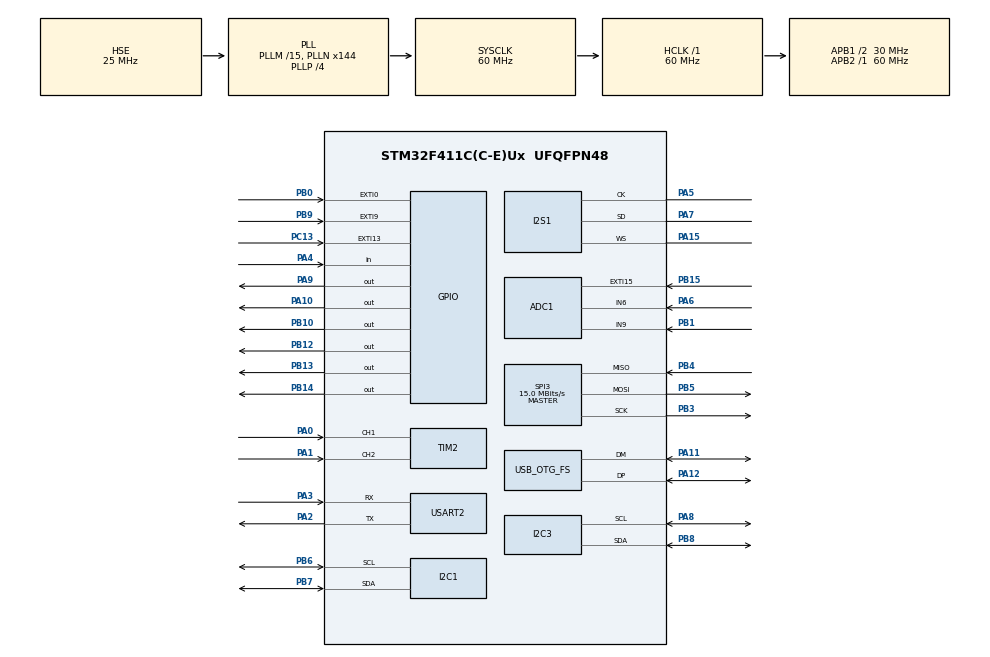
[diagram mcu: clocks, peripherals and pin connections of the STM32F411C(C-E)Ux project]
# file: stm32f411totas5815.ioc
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ADC1.Channel-5\#ChannelRegularConversion=ADC_CHANNEL_9
ADC1.NbrOfConversionFlag=1
ADC1.Rank-5\#ChannelRegularConversion=1
ADC1.SamplingTime-5\#ChannelRegularConversion=ADC_SAMPLETIME_3CYCLES
ADC1.master=1
I2S1.AudioFreq=I2S_AUDIOFREQ_48K
I2S1.ErrorAudioFreq=-0.35 %
I2S1.FullDuplexMode=I2S_FULLDUPLEXMODE_DISABLE
I2S1.Instance=SPI$Index
I2S1.RealAudioFreq=47.831 KHz
I2S1.VirtualMode=I2S_MODE_MASTER
Mcu.Family=STM32F4
Mcu.Name=STM32F411C(C-E)Ux
Mcu.Package=UFQFPN48
NVIC.OTG_FS_IRQn=true\:0\:0\:false\:false\:true\:true\:true\:true
NVIC.PriorityGroup=NVIC_PRIORITYGROUP_4
PA0-WKUP.Signal=S_TIM2_CH1_ETR
PA1.Signal=S_TIM2_CH2
PA10.Signal=GPIO_Output
PA11.Mode=Device_Only
PA11.Signal=USB_OTG_FS_DM
PA12.Mode=Device_Only
PA12.Signal=USB_OTG_FS_DP
PA13.Mode=Serial_Wire
PA13.Signal=SYS_JTMS-SWDIO
PA14.Mode=Serial_Wire
PA14.Signal=SYS_JTCK-SWCLK
PA15.Mode=Half_Duplex_Master
PA15.Signal=I2S1_WS
PA2.Mode=Asynchronous
PA2.Signal=USART2_TX
PA3.Mode=Asynchronous
PA3.Signal=USART2_RX
PA4.Signal=GPIO_Input
PA5.Mode=Half_Duplex_Master
PA5.Signal=I2S1_CK
PA6.Signal=ADCx_IN6
PA7.Mode=Half_Duplex_Master
PA7.Signal=I2S1_SD
PA8.Mode=I2C
PA8.Signal=I2C3_SCL
PA9.Signal=GPIO_Output
PB0.Signal=GPXTI0
PB1.Signal=ADCx_IN9
PB10.Signal=GPIO_Output
PB12.Signal=GPIO_Output
PB13.Signal=GPIO_Output
PB14.Signal=GPIO_Output
PB15.Signal=GPXTI15
PB3.Mode=Full_Duplex_Master
PB3.Signal=SPI3_SCK
PB4.Mode=Full_Duplex_Master
PB4.Signal=SPI3_MISO
PB5.Mode=Full_Duplex_Master
PB5.Signal=SPI3_MOSI
PB6.Mode=I2C
PB6.Signal=I2C1_SCL
PB7.Mode=I2C
PB7.Signal=I2C1_SDA
PB8.Mode=I2C
PB8.Signal=I2C3_SDA
PB9.Signal=GPXTI9
PC13-ANTI_TAMP.Signal=GPXTI13
PC14-OSC32_IN.Mode=LSE-External-Oscillator
PC14-OSC32_IN.Signal=RCC_OSC32_IN
PC15-OSC32_OUT.Mode=LSE-External-Oscillator
PC15-OSC32_OUT.Signal=RCC_OSC32_OUT
PH0\ -\ OSC_IN.Mode=HSE-External-Oscillator
PH0\ -\ OSC_IN.Signal=RCC_OSC_IN
PH1\ -\ OSC_OUT.Mode=HSE-External-Oscillator
PH1\ -\ OSC_OUT.Signal=RCC_OSC_OUT
ProjectManager.HeapSize=0x200
ProjectManager.StackSize=0x400
ProjectManager.TargetToolchain=MDK-ARM V5.32
RCC.48MHZClocksFreq_Value=48000000
RCC.AHBFreq_Value=60000000
RCC.APB1CLKDivider=RCC_HCLK_DIV2
RCC.APB1Freq_Value=30000000
RCC.APB1TimFreq_Value=60000000
RCC.APB2Freq_Value=60000000
RCC.APB2TimFreq_Value=60000000
RCC.CortexFreq_Value=60000000
RCC.HCLKFreq_Value=60000000
RCC.HSE_VALUE=25000000
RCC.HSI_VALUE=16000000
RCC.PLLM=15
RCC.PLLN=144
RCC.PLLP=RCC_PLLP_DIV4
RCC.PLLQ=5
RCC.SYSCLKFreq_VALUE=60000000
RCC.SYSCLKSource=RCC_SYSCLKSOURCE_PLLCLK
RCC.VCOOutputFreq_Value=240000000
SH.ADCx_IN6.0=ADC1_IN6,IN6
SH.ADCx_IN9.0=ADC1_IN9,IN9
SH.S_TIM2_CH1_ETR.0=TIM2_CH1,Encoder_Interface
SH.S_TIM2_CH2.0=TIM2_CH2,Encoder_Interface
SPI3.CalculateBaudRate=15.0 MBits/s
SPI3.Direction=SPI_DIRECTION_2LINES
SPI3.Mode=SPI_MODE_MASTER
SPI3.VirtualType=VM_MASTER
USART2.VirtualMode=VM_ASYNC
USB_OTG_FS.VirtualMode=Device_Only
board=custom

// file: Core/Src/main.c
/* USER CODE BEGIN Header */
/**
  ******************************************************************************
  * @file           : main.c
  * @brief          : Main program body
  ******************************************************************************
  * @attention
  *
  * Copyright (c) 2026 STMicroelectronics.
  * All rights reserved.
  *
  * This software is licensed under terms that can be found in the LICENSE file
  * in the root directory of this software component.
  * If no LICENSE file comes with this software, it is provided AS-IS.
  *
  ******************************************************************************
  */
/* USER CODE END Header */
#include "main.h"
#include "adc.h"
#include "i2c.h"
#include "i2s.h"
#include "spi.h"
#include "tim.h"
#include "usart.h"
#include "usb_otg.h"
#include "gpio.h"

/* USER CODE BEGIN Includes */
#include "string.h"
#include "oled.h"
#include "stdio.h"
#include "tas5815.h"
#include "menu.h"
#include "at24c02.h"
#include "adc.h"
/* USER CODE END Includes */

/* USER CODE BEGIN PV */
/* 音量保存相关参数 */
#define VOLUME_SAVE_DELAY  2000  /* 音量稳定2秒后保存 (ms) */

static uint32_t g_volumeChangeTime = 0;  /* 音量变化时间戳 */
static uint8_t  g_volumeNeedSave = 0;    /* 音量需要保存标志 */
static int32_t  g_volumeToSave = 0;      /* 待保存的音量值 */

/* 音量变量（供菜单系统同步硬件计数器使用） */
static int32_t g_volume = 30; /* 默认音量30 */

/* 音量显示消息缓冲 */
char volStr[4] = "99";

/* 音量最大值 */
#define VOLUME_MAX  99

/* 播放状态检测阈值：ADC值 > 1240 (约1V) 认为正在播放 */
#define PLAY_THRESHOLD_ADC  1240
#define PLAY_SAMPLE_COUNT   5

/* 关机模式定义 */
#define POWEROFF_MODE_10MIN      0  /* 无播放10分钟关机 */
#define POWEROFF_MODE_30MIN     1  /* 无播放30分钟关机 */
#define POWEROFF_MODE_FOLLOW    2  /* 随主机关机 */
#define POWEROFF_MODE_DISABLED  3  /* 不自动关机 */

/* 自动关机时间：默认30分钟 */
#define AUTO_POWER_OFF_MS_DEFAULT   (30 * 60 * 1000)
#define AUTO_POWER_OFF_MS_10MIN      (10 * 60 * 1000)

static uint8_t g_lastPlayState = 0;
static uint8_t g_currentModulation = 0;
static uint8_t g_currentFSW = 0;
static uint8_t g_currentVoltage = 1;
static uint32_t g_lastPlayTime = 0;

/* 关机设置：0=10分钟, 1=30分钟, 2=随主机, 3=不自动关机 */
uint8_t g_powerOffMode = POWEROFF_MODE_30MIN;
static uint8_t g_pb0LastState = 0;

void SetPowerOffMode(uint8_t mode)
{
    g_powerOffMode = mode;
}
/* USER CODE END PV */

void SystemClock_Config(void);

/* USER CODE BEGIN 0 */
/* 引用I2C句柄 */
extern I2C_HandleTypeDef hi2c1;
extern I2C_HandleTypeDef hi2c3; /* OLED和AT24C02使用I2C3 */

/* 获取当前音量 */
int32_t GetVolume(void)
{
    return g_volume;
}

/* 设置音量（同时更新硬件计数器） */
void SetVolume(int32_t vol)
{
    if (vol < 0) vol = 0;
    if (vol > VOLUME_MAX) vol = VOLUME_MAX;
    g_volume = vol;
    __HAL_TIM_SET_COUNTER(&htim2, (uint32_t)(vol << 1));
}

void SetModulation(uint8_t modulation)
{
    g_currentModulation = modulation;
    tas5815_set_modulation(modulation);
}

void SetFSW(uint8_t fsw)
{
    g_currentFSW = fsw;
    tas5815_set_fsw(fsw);
}

void SetVoltage(uint8_t voltage)
{
    g_currentVoltage = voltage;
    switch(voltage) {
        case 0:
            HAL_GPIO_WritePin(PD_5V_GPIO_Port, PD_5V_Pin, GPIO_PIN_SET);
            HAL_GPIO_WritePin(PD_20V_GPIO_Port, PD_20V_Pin, GPIO_PIN_RESET);
            break;
        case 1:
            HAL_GPIO_WritePin(PD_5V_GPIO_Port, PD_5V_Pin, GPIO_PIN_RESET);
            HAL_GPIO_WritePin(PD_20V_GPIO_Port, PD_20V_Pin, GPIO_PIN_RESET);
            break;
        case 2:
            HAL_GPIO_WritePin(PD_5V_GPIO_Port, PD_5V_Pin, GPIO_PIN_RESET);
            HAL_GPIO_WritePin(PD_20V_GPIO_Port, PD_20V_Pin, GPIO_PIN_SET);
            break;
    }
}

void RestoreVoltage(void)
{
    SetVoltage(g_currentVoltage);
}

static uint32_t Read_ADC_Channel(uint32_t channel)
{
    ADC_ChannelConfTypeDef sConfig = {0};
    sConfig.Channel = channel;
    sConfig.Rank = 1;
    sConfig.SamplingTime = ADC_SAMPLETIME_15CYCLES;
    HAL_ADC_ConfigChannel(&hadc1, &sConfig);

    HAL_ADC_Start(&hadc1);
    HAL_ADC_PollForConversion(&hadc1, 10);
    uint32_t value = HAL_ADC_GetValue(&hadc1);
    HAL_ADC_Stop(&hadc1);
    return value;
}

void System_PowerOff(void)
{
    if (g_volumeNeedSave) {
        AT24C02_SaveVolume((uint8_t)g_volumeToSave);
        g_volumeNeedSave = 0;
    }

    HAL_GPIO_WritePin(PD_5V_GPIO_Port, PD_5V_Pin, GPIO_PIN_SET);
    HAL_GPIO_WritePin(PD_20V_GPIO_Port, PD_20V_Pin, GPIO_PIN_RESET);

    HAL_GPIO_WritePin(BT_EN_GPIO_Port, BT_EN_Pin, GPIO_PIN_RESET);
    tas5815_sleep();
    HAL_Delay(50);
    OLED_DisPlay_Off();

    HAL_SuspendTick();

    __HAL_RCC_GPIOB_CLK_ENABLE();
    GPIO_InitTypeDef GPIO_InitStruct = {0};
    GPIO_InitStruct.Pin = GPIO_PIN_9;
    GPIO_InitStruct.Mode = GPIO_MODE_IT_FALLING;
    GPIO_InitStruct.Pull = GPIO_PULLUP;
    HAL_GPIO_Init(GPIOB, &GPIO_InitStruct);

    GPIO_InitStruct.Pin = GPIO_PIN_0;
    GPIO_InitStruct.Mode = GPIO_MODE_IT_RISING;
    GPIO_InitStruct.Pull = GPIO_PULLDOWN;
    HAL_GPIO_Init(GPIOB, &GPIO_InitStruct);

    __HAL_PWR_CLEAR_FLAG(PWR_FLAG_WU);
    HAL_NVIC_SetPriority(EXTI9_5_IRQn, 0, 0);
    HAL_NVIC_EnableIRQ(EXTI9_5_IRQn);
    HAL_NVIC_SetPriority(EXTI0_IRQn, 0, 0);
    HAL_NVIC_EnableIRQ(EXTI0_IRQn);

    HAL_PWR_EnterSTOPMode(PWR_LOWPOWERREGULATOR_ON, PWR_STOPENTRY_WFI);

    HAL_NVIC_DisableIRQ(EXTI9_5_IRQn);
    HAL_NVIC_DisableIRQ(EXTI0_IRQn);
    __HAL_GPIO_EXTI_CLEAR_IT(GPIO_PIN_9);
    __HAL_GPIO_EXTI_CLEAR_IT(GPIO_PIN_0);

    SystemClock_Config();
    HAL_ResumeTick();

    GPIO_InitStruct.Pin = GPIO_PIN_9;
    GPIO_InitStruct.Mode = GPIO_MODE_IT_RISING;
    GPIO_InitStruct.Pull = GPIO_NOPULL;
    HAL_GPIO_Init(GPIOB, &GPIO_InitStruct);

    GPIO_InitStruct.Pin = GPIO_PIN_0;
    GPIO_InitStruct.Mode = GPIO_MODE_IT_RISING;
    GPIO_InitStruct.Pull = GPIO_NOPULL;
    HAL_GPIO_Init(GPIOB, &GPIO_InitStruct);

    HAL_Delay(100);

    RestoreVoltage();
    OLED_NewFrame();
    OLED_ShowFrame();
    OLED_DisPlay_On();
    HAL_Delay(500);
    HAL_GPIO_WritePin(BT_EN_GPIO_Port, BT_EN_Pin, GPIO_PIN_SET);
    HAL_Delay(200);
    tas5815_wakeup();
    set_tas5815_volume((uint32_t)g_volume);
    g_lastPlayTime = HAL_GetTick();
}
/* USER CODE END 0 */

int main(void)
{

  /* MCU Configuration--------------------------------------------------------*/

  /* Reset of all peripherals, Initializes the Flash interface and the Systick. */
  HAL_Init();

  /* Configure the system clock */
  SystemClock_Config();

  /* Initialize all configured peripherals */
  MX_GPIO_Init();
  MX_ADC1_Init();
  MX_I2C1_Init();
  MX_I2C3_Init();
  MX_I2S1_Init();
  MX_SPI3_Init();
  MX_TIM2_Init();
  MX_USART2_UART_Init();
  MX_USB_OTG_FS_PCD_Init();
  /* USER CODE BEGIN 2 */

  HAL_Delay(500);
  /* 默认开启蓝牙模块 (PA10 高电平) */
  HAL_GPIO_WritePin(BT_EN_GPIO_Port, BT_EN_Pin, GPIO_PIN_SET);

  /* 使能PWR时钟并解锁备份域访问（LSE配置需要） */
  __HAL_RCC_PWR_CLK_ENABLE();
  HAL_PWR_EnableBkUpAccess();

  /* 开启外部低速晶振 LSE (32.768kHz)，带超时保护 */
  __HAL_RCC_LSE_CONFIG(RCC_LSE_ON);
  uint32_t lseTimeout = 0;
  while(__HAL_RCC_GET_FLAG(RCC_FLAG_LSERDY) == RESET) {
      if (++lseTimeout > 50000) break;  /* 约500ms超时 */
  }

  HAL_Delay(200);
  OLED_Init();
  OLED_NewFrame();
  OLED_PrintString(4, 2, "星火计划", &font30x30, OLED_COLOR_NORMAL);
  OLED_PrintString(4, 34, "鸢枭出品", &font30x30, OLED_COLOR_NORMAL);
  OLED_ShowFrame();
  MX_I2S1_Init();
  MX_SPI3_Init();
  MX_TIM2_Init();
  MX_USART2_UART_Init();
  MX_USB_OTG_FS_PCD_Init();
/* 启动编码器 */
  HAL_TIM_Encoder_Start(&htim2, TIM_CHANNEL_ALL);

  /* EEPROM 初始化 */
  if (AT24C02_Init() == 0) {
      /* 尝试从 EEPROM 读取记忆音量 */
      uint8_t savedVolume = 30;  /* 默认音量 30 */
      if (AT24C02_LoadVolume(&savedVolume) == 0) {
          g_volume = savedVolume;
      }

      /* 尝试加载记忆的电压设置并立即应用 */
      uint8_t savedVoltage = 1;  /* 默认 12V */
      if (AT24C02_LoadVoltage(&savedVoltage) == 0) {
          SetVoltage(savedVoltage);
      }
  }

  HAL_Delay(500);  /* 显示启动信息 500ms */

  /* 设置编码器初始值（音量左移 1 位） */
  __HAL_TIM_SET_COUNTER(&htim2, (uint32_t)(g_volume << 1));
  HAL_Delay(2);

   /* 初始化 TAS5815 音频放大器 */
   tas5815_Initialize();

   /* 加载记忆的调制模式并配置 */
uint8_t savedModulation = 0;
   if (AT24C02_LoadModulation(&savedModulation) == 0) {
       g_currentModulation = savedModulation;
       tas5815_set_modulation(savedModulation);
   }

    uint8_t savedFSW = 0;
   if (AT24C02_LoadFSW(&savedFSW) == 0) {
       g_currentFSW = savedFSW;
       tas5815_set_fsw(savedFSW);
   }

   uint8_t savedPowerOff = POWEROFF_MODE_30MIN;
   if (AT24C02_LoadPowerOff(&savedPowerOff) == 0) {
       g_powerOffMode = savedPowerOff;
   }

   uint8_t savedAMP = 5;
   if (AT24C02_LoadAMP(&savedAMP) == 0) {
       tas5815_set_analog_gain(savedAMP);
   }

   g_pb0LastState = HAL_GPIO_ReadPin(BT_USB_DET_GPIO_Port, BT_USB_DET_Pin);

     /* 初始化菜单系统（不再设置默认电压） */
     Menu_Init();

    g_lastPlayTime = HAL_GetTick();
   /* USER CODE END 2 */

  /* Infinite loop */
  /* USER CODE BEGIN WHILE */

  int32_t last_count = -1; /* 检测音量变化 */
  while (1)
  {
      /* 处理菜单系统（包含编码器和按键处理） */
      Menu_Process();

      /* 检查是否需要关机 */
      if (Menu_IsPowerOffPending()) {
          Menu_ClearPowerOffPending();
          System_PowerOff();
      }

      /* 仅在音量界面时执行音量调节逻辑 */
      if (Menu_GetState() == MENU_STATE_VOLUME && !Menu_IsInPowerOffMode()) {
          /* 清空OLED显示缓冲 */
          OLED_NewFrame();

          /* 1. 获取硬件计数器的当前值 */
          uint32_t raw_count = __HAL_TIM_GET_COUNTER(&htim2);

          /* 2. 计算音量值（右移1位，每2个编码器脉冲变化1个音量单位） */
          /* 顺时针旋转增加音量 */
          int32_t current_count = ((int32_t)raw_count) >> 1;

          /* 3. 边界检查与硬件同步 (解决"死区"问题的关键) */
          if (current_count < 0) {
              g_volume = 0;
              __HAL_TIM_SET_COUNTER(&htim2, 0);
          }
          else if (current_count > VOLUME_MAX) {
              g_volume = VOLUME_MAX;
              __HAL_TIM_SET_COUNTER(&htim2, VOLUME_MAX << 1);
          }
          else {
              g_volume = current_count;
          }

          /* 检测音量变化并更新硬件 */
          if (g_volume != last_count) {

              /* 设置TAS5815音量 */
              set_tas5815_volume((uint32_t)g_volume);

              /* 标记需要保存，记录时间和待保存值 */
              g_volumeChangeTime = HAL_GetTick();
              g_volumeToSave = g_volume;
              g_volumeNeedSave = 1;

              last_count = g_volume;
          }

          /* 检查是否需要保存音量到EEPROM（音量稳定2秒后保存） */
           if (g_volumeNeedSave && (HAL_GetTick() - g_volumeChangeTime >= VOLUME_SAVE_DELAY)) {
               AT24C02_SaveVolume((uint8_t)g_volumeToSave);
               g_volumeNeedSave = 0;
           }

/* VOLUME标题 + 音量数字 + 进度条 (右侧对齐) */
           sprintf(volStr, "%02ld", (long)g_volume);
           uint8_t volX = 128 - 2 * 30;
           OLED_PrintASCIIString(volX, 5, "VOLUME", &afont16x8, OLED_COLOR_NORMAL);
            OLED_PrintString(volX - 8, 20, volStr, &fontNum30x30, OLED_COLOR_NORMAL);

           /* 音量进度条 */
           uint8_t barY = 55;
           uint8_t barH = 10;
           uint8_t barW = 128;
           uint32_t drawWidth = (uint32_t)g_volume * barW / VOLUME_MAX;
           OLED_DrawRectangle(0, barY, barW, barH, OLED_COLOR_NORMAL);
           if (drawWidth > 0) {
               OLED_DrawFilledRectangle(1, barY + 1, (uint8_t)drawWidth, barH - 2, OLED_COLOR_NORMAL);
           }

           /* 左侧状态显示 (x=4, font10x10高度10像素, 间隔2像素) */
           uint8_t leftX = 4;
           uint8_t leftY = 4;
           char statusBuf[16];

              /* 第1行: 播放状态 */
              static uint32_t lastStartTime = 0;
              for (int i = 0; i < 10; i++) {
                  if (Read_ADC_Channel(ADC_CHANNEL_6) > PLAY_THRESHOLD_ADC) {
                      lastStartTime = HAL_GetTick();
                      break;
                  }
              }
              g_lastPlayState = ((HAL_GetTick() - lastStartTime) < 100) ? 1 : 0;
             if (g_lastPlayState) {
                 g_lastPlayTime = HAL_GetTick();
             }
             OLED_PrintString(leftX, leftY, g_lastPlayState ? "START" : "STOP ", &font10x10, OLED_COLOR_NORMAL);

             uint8_t pb0CurrentState = HAL_GPIO_ReadPin(BT_USB_DET_GPIO_Port, BT_USB_DET_Pin);
             uint8_t autoPowerOff = 0;

             if (g_powerOffMode == POWEROFF_MODE_FOLLOW) {
                 if (g_pb0LastState == GPIO_PIN_SET && pb0CurrentState == GPIO_PIN_RESET) {
                     autoPowerOff = 1;
                 } else if (pb0CurrentState == GPIO_PIN_RESET && !g_lastPlayState) {
                     uint32_t timeout = AUTO_POWER_OFF_MS_10MIN;
                     if ((HAL_GetTick() - g_lastPlayTime >= timeout)) {
                         autoPowerOff = 1;
                     }
                 }
             } else if (g_powerOffMode != POWEROFF_MODE_DISABLED) {
                 uint32_t timeout = (g_powerOffMode == POWEROFF_MODE_10MIN) ?
                                    AUTO_POWER_OFF_MS_10MIN : AUTO_POWER_OFF_MS_DEFAULT;
                 if (!g_lastPlayState && (HAL_GetTick() - g_lastPlayTime >= timeout)) {
                     autoPowerOff = 1;
                 }
             }

             g_pb0LastState = pb0CurrentState;

             if (autoPowerOff) {
                 System_PowerOff();
             }

           /* 第2行: 电压 */
           leftY += 12;
           uint32_t adcVolt = Read_ADC_Channel(ADC_CHANNEL_9);
           float voltage = (float)adcVolt * 3.3f * 6.1f / 4095.0f;
           sprintf(statusBuf, "%dV", (int)(voltage + 0.5f));
           OLED_PrintString(leftX, leftY, statusBuf, &font10x10, OLED_COLOR_NORMAL);

           /* 第3行: 调制模式 */
           leftY += 12;
           switch(g_currentModulation) {
               case 0: OLED_PrintString(leftX, leftY, "BD", &font10x10, OLED_COLOR_NORMAL); break;
               case 1: OLED_PrintString(leftX, leftY, "1SPW", &font10x10, OLED_COLOR_NORMAL); break;
               case 3: OLED_PrintString(leftX, leftY, "BD/1SPW", &font10x10, OLED_COLOR_NORMAL); break;
               default: OLED_PrintString(leftX, leftY, "?", &font10x10, OLED_COLOR_NORMAL); break;
           }

           /* 第4行: 开关频率 */
           leftY += 12;
           switch(g_currentFSW) {
               case 0: OLED_PrintString(leftX, leftY, "768K", &font10x10, OLED_COLOR_NORMAL); break;
               case 1: OLED_PrintString(leftX, leftY, "384K", &font10x10, OLED_COLOR_NORMAL); break;
               case 5: OLED_PrintString(leftX, leftY, "1024K", &font10x10, OLED_COLOR_NORMAL); break;
               default: OLED_PrintString(leftX, leftY, "?", &font10x10, OLED_COLOR_NORMAL); break;
           }

           /* 刷新屏幕 */
           OLED_ShowFrame();
      }

      /* 延时以稳定显示 */
      HAL_Delay(3);

    /* USER CODE END WHILE */

  }
}

void SystemClock_Config(void)
{
  RCC_OscInitTypeDef RCC_OscInitStruct = {0};
  RCC_ClkInitTypeDef RCC_ClkInitStruct = {0};

  /** Configure the main internal regulator output voltage
  */
  __HAL_RCC_PWR_CLK_ENABLE();
  __HAL_PWR_VOLTAGESCALING_CONFIG(PWR_REGULATOR_VOLTAGE_SCALE1);

  /** Initializes the RCC Oscillators according to the specified parameters
  * in the RCC_OscInitTypeDef structure.
  */
  RCC_OscInitStruct.OscillatorType = RCC_OSCILLATORTYPE_HSE;
  RCC_OscInitStruct.HSEState = RCC_HSE_ON;
  RCC_OscInitStruct.PLL.PLLState = RCC_PLL_ON;
  RCC_OscInitStruct.PLL.PLLSource = RCC_PLLSOURCE_HSE;
  RCC_OscInitStruct.PLL.PLLM = 15;
  RCC_OscInitStruct.PLL.PLLN = 144;
  RCC_OscInitStruct.PLL.PLLP = RCC_PLLP_DIV4;
  RCC_OscInitStruct.PLL.PLLQ = 5;
  if (HAL_RCC_OscConfig(&RCC_OscInitStruct) != HAL_OK)
  {
    Error_Handler();
  }

  /** Initializes the CPU, AHB and APB buses clocks
  */
  RCC_ClkInitStruct.ClockType = RCC_CLOCKTYPE_HCLK|RCC_CLOCKTYPE_SYSCLK
                              |RCC_CLOCKTYPE_PCLK1|RCC_CLOCKTYPE_PCLK2;
  RCC_ClkInitStruct.SYSCLKSource = RCC_SYSCLKSOURCE_PLLCLK;
  RCC_ClkInitStruct.AHBCLKDivider = RCC_SYSCLK_DIV1;
  RCC_ClkInitStruct.APB1CLKDivider = RCC_HCLK_DIV2;
  RCC_ClkInitStruct.APB2CLKDivider = RCC_HCLK_DIV1;

  if (HAL_RCC_ClockConfig(&RCC_ClkInitStruct, FLASH_LATENCY_1) != HAL_OK)
  {
    Error_Handler();
  }
}

void Error_Handler(void)
{
  __disable_irq();
  while (1)
  {
  }
}
